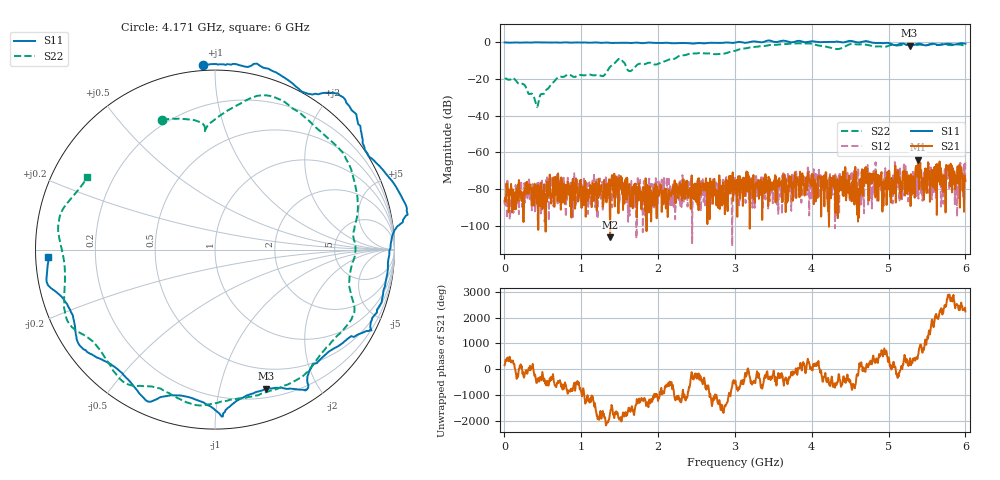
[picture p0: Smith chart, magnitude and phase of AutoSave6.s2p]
!Agilent N9923A: A.05.17
!Date: Sunday, 01 January 2006 13:13:22
!Model: N9923A
!Serial: MY50371189
!CHECKSUM:0452853959
!Correction: S11(OFF)S21(OFF)S12(OFF)S22(ON U)
!S2P File: Measurements:S11,S21,S12,S22:
# Hz S RI R 50
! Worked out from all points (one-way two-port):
!   1001 points, 2 MHz to 6 GHz, reference 50 ohm
!   highest |S21| = -64.07 dB at 5.382 GHz (marker M1); lowest = -106.3 dB at 1.376 GHz (marker M2)
!   lowest |S11| = -1.7 dB at 5.274 GHz (marker M3), VSWR 10.43, Z = 14.4 - j69.6 ohm
!   |S11| at or under -10 dB: nowhere
!   |S22| runs from -35.2 to -0.5 dB; largest |S21 - S12| = 0.0011
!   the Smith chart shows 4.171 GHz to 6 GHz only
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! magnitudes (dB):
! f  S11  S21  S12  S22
! 2 MHz  0.0  -86.8  -88.4  -19.7
! 247.9 MHz  0.0  -98.0  -90.7  -22.8
! 421.9 MHz  0.0  -87.9  -85.6  -35.2
! 697.8 MHz  -0.1  -71.5  -76.4  -19.0
! 1.004 GHz  -0.1  -90.3  -77.3  -17.8
! 1.376 GHz  -0.2  -106.3  -81.4  -13.3
! 1.496 GHz  -0.2  -74.9  -88.1  -8.9
! 1.633 GHz  -0.3  -89.0  -80.1  -15.7
! 2.005 GHz  -0.2  -81.1  -75.8  -11.6
! 3.001 GHz  -0.1  -77.4  -74.0  -4.6
! 4.003 GHz  0.6  -71.8  -73.4  -0.8
! 5.004 GHz  -0.3  -70.0  -74.7  -1.8
! 5.16 GHz  -0.6  -85.1  -77.6  -1.5
! 5.22 GHz  -1.0  -70.3  -67.5  -1.4
! 5.274 GHz  -1.7  -80.0  -76.2  -1.5
! 5.382 GHz  -0.6  -64.1  -66.7  -1.3
! 5.466 GHz  -1.5  -78.4  -81.7  -1.5
! 5.664 GHz  -1.3  -65.0  -71.5  -1.2
! 5.712 GHz  -1.1  -81.7  -88.0  -0.8
! 5.778 GHz  -0.7  -69.7  -69.5  -1.3
! 5.862 GHz  -1.1  -75.4  -88.3  -1.3
! 6 GHz  -0.6  -75.8  -64.8  -1.7
